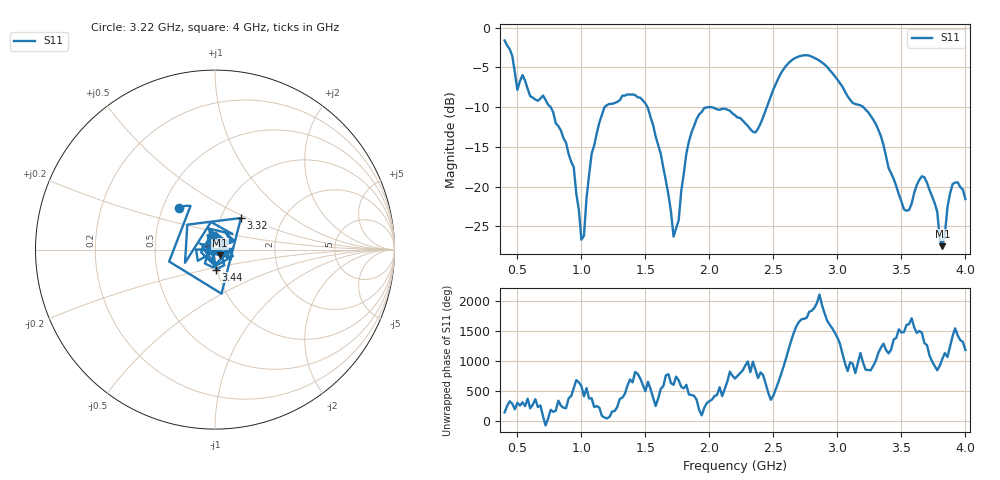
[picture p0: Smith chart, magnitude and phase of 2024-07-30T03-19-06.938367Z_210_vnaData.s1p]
!Created with skrf (http://scikit-rf.org).
# Hz S RI R 50.0
!freq ReS11 ImS11
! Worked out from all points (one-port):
!   181 points, 400 MHz to 4 GHz, reference 50 ohm
!   lowest |S11| = -27.5 dB at 3.82 GHz (marker M1), VSWR 1.09, Z = 52.8 - j3.32 ohm
!   |S11| at or under -10 dB: 1.516 GHz to 1.992 GHz (476.1 MHz wide, 27.1 % of centre); 2.013 GHz to 2.449 GHz (435.7 MHz wide, 19.5 % of centre); 3.203 GHz to end of sweep (the widest 3 of 4)
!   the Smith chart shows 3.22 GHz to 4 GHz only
!   S11 on the Smith chart (normalised r, x): 3.22 GHz: 0.61, +0.31; 3.32 GHz: 1.24, +0.46; 3.44 GHz: 0.99, -0.22; 4 GHz: 0.96, +0.16
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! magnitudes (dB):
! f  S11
! 400 MHz  -1.6
! 500 MHz  -7.8
! 700 MHz  -8.5
! 860 MHz  -13.9
! 940 MHz  -17.5
! 1 GHz  -26.7
! 1.02 GHz  -26.2
! 1.08 GHz  -15.9
! 1.14 GHz  -12.0
! 1.3 GHz  -9.1
! 1.52 GHz  -10.1
! 1.62 GHz  -15.9
! 1.72 GHz  -26.3
! 1.76 GHz  -24.2
! 1.82 GHz  -15.8
! 1.92 GHz  -10.9
! 2.2 GHz  -11.0
! 2.36 GHz  -13.2
! 2.66 GHz  -3.9
! 3.1 GHz  -9.1
! 3.22 GHz  -10.3
! 3.32 GHz  -12.9
! 3.44 GHz  -19.0
! 3.56 GHz  -22.9
! 3.68 GHz  -18.8
! 3.82 GHz  -27.5
! 3.9 GHz  -19.7
! 4 GHz  -21.6
